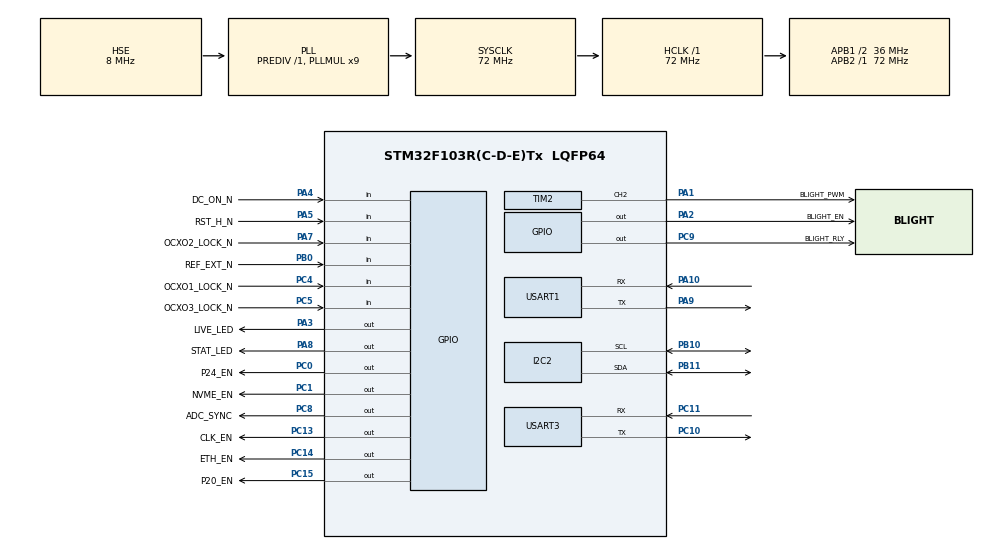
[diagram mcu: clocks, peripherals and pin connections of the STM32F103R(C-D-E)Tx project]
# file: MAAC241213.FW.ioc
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Dma.Request0=USART1_RX
Dma.USART1_RX.0.Direction=DMA_PERIPH_TO_MEMORY
Dma.USART1_RX.0.Instance=DMA1_Channel5
Dma.USART1_RX.0.MemDataAlignment=DMA_MDATAALIGN_BYTE
Dma.USART1_RX.0.MemInc=DMA_MINC_ENABLE
Dma.USART1_RX.0.Mode=DMA_NORMAL
Dma.USART1_RX.0.PeriphDataAlignment=DMA_PDATAALIGN_BYTE
Dma.USART1_RX.0.PeriphInc=DMA_PINC_DISABLE
Dma.USART1_RX.0.Priority=DMA_PRIORITY_LOW
Mcu.Family=STM32F1
Mcu.Name=STM32F103R(C-D-E)Tx
Mcu.Package=LQFP64
NVIC.DMA1_Channel5_IRQn=true\:0\:0\:false\:false\:true\:false\:true\:true
NVIC.PriorityGroup=NVIC_PRIORITYGROUP_4
NVIC.USART1_IRQn=true\:2\:0\:true\:false\:true\:true\:true\:true
PA1.GPIO_Label=BLIGHT_PWM
PA1.GPIO_ModeDefaultPP=GPIO_MODE_AF_PP
PA1.Signal=S_TIM2_CH2
PA10.Mode=Asynchronous
PA10.Signal=USART1_RX
PA13.Mode=Trace_Asynchronous_SW
PA13.Signal=SYS_JTMS-SWDIO
PA14.Mode=Trace_Asynchronous_SW
PA14.Signal=SYS_JTCK-SWCLK
PA2.GPIO_Label=BLIGHT_EN
PA2.Signal=GPIO_Output
PA3.GPIO_Label=LIVE_LED
PA3.Signal=GPIO_Output
PA4.GPIO_Label=DC_ON_N
PA4.Signal=GPIO_Input
PA5.GPIO_Label=RST_H_N
PA5.Signal=GPIO_Input
PA7.GPIO_Label=OCXO2_LOCK_N
PA7.Signal=GPIO_Input
PA8.GPIO_Label=STAT_LED
PA8.Signal=GPIO_Output
PA9.Mode=Asynchronous
PA9.Signal=USART1_TX
PB0.GPIO_Label=REF_EXT_N
PB0.Signal=GPIO_Input
PB10.Mode=I2C
PB10.Signal=I2C2_SCL
PB11.Mode=I2C
PB11.Signal=I2C2_SDA
PB3.Mode=Trace_Asynchronous_SW
PB3.Signal=SYS_JTDO-TRACESWO
PC0.GPIO_Label=P24_EN
PC0.Signal=GPIO_Output
PC1.GPIO_Label=NVME_EN
PC1.Signal=GPIO_Output
PC10.Mode=Asynchronous
PC10.Signal=USART3_TX
PC11.Mode=Asynchronous
PC11.Signal=USART3_RX
PC13-TAMPER-RTC.GPIO_Label=CLK_EN
PC13-TAMPER-RTC.Signal=GPIO_Output
PC14-OSC32_IN.GPIO_Label=ETH_EN
PC14-OSC32_IN.Signal=GPIO_Output
PC15-OSC32_OUT.GPIO_Label=P20_EN
PC15-OSC32_OUT.Signal=GPIO_Output
PC4.GPIO_Label=OCXO1_LOCK_N
PC4.Signal=GPIO_Input
PC5.GPIO_Label=OCXO3_LOCK_N
PC5.Signal=GPIO_Input
PC8.GPIO_Label=ADC_SYNC
PC8.Signal=GPIO_Output
PC9.GPIO_Label=BLIGHT_RLY
PC9.Signal=GPIO_Output
PD0-OSC_IN.Mode=HSE-External-Oscillator
PD0-OSC_IN.Signal=RCC_OSC_IN
PD1-OSC_OUT.Mode=HSE-External-Oscillator
PD1-OSC_OUT.Signal=RCC_OSC_OUT
ProjectManager.HeapSize=0x200
ProjectManager.StackSize=0x400
ProjectManager.TargetToolchain=STM32CubeIDE
RCC.AHBFreq_Value=72000000
RCC.APB1CLKDivider=RCC_HCLK_DIV2
RCC.APB1Freq_Value=36000000
RCC.APB1TimFreq_Value=72000000
RCC.APB2Freq_Value=72000000
RCC.APB2TimFreq_Value=72000000
RCC.HCLKFreq_Value=72000000
RCC.PLLMUL=RCC_PLL_MUL9
RCC.PLLSourceVirtual=RCC_PLLSOURCE_HSE
RCC.SYSCLKFreq_VALUE=72000000
RCC.SYSCLKSource=RCC_SYSCLKSOURCE_PLLCLK
RCC.USBFreq_Value=72000000
SH.S_TIM2_CH2.0=TIM2_CH2,PWM Generation2 CH2
TIM2.Channel-PWM\ Generation2\ CH2=TIM_CHANNEL_2
TIM2.OCPolarity_2=TIM_OCPOLARITY_LOW
TIM2.Period=480
TIM2.Prescaler=59
USART1.VirtualMode=VM_ASYNC
USART3.VirtualMode=VM_ASYNC
board=custom

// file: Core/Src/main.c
/* USER CODE BEGIN Header */
/**
  ******************************************************************************
  * @file           : main.c
  * @brief          : Main program body
  ******************************************************************************
  * @attention
  *
  * Copyright (c) 2022 STMicroelectronics.
  * All rights reserved.
  *
  * This software is licensed under terms that can be found in the LICENSE file
  * in the root directory of this software component.
  * If no LICENSE file comes with this software, it is provided AS-IS.
  *
  ******************************************************************************
  *
  *- Az orak tapjai az eszkoz aram ala helyezese utan fixen allandoan mennek.
  *- A PC be kikapcsolast a PCPSU vezerli atx szabvany szerint. Ezzel a FW-nek nem kell foglalkoznia.
  *
  * OCXO3 -> 25MHz
  * OCXO2 -> 20MHz
  * OCXO1 -> 24MHz
  *
  *                 |  Legacy Triclock   |          I2C Triclock          |
  * REFOCXO Temp    |nincs(152.918C ±1%) |van (MAAC kártya méri)          |
  * REFOCXO ExtRef  |van                 |van                             |
  * REFOCXO Current |nincs (0A)          |van (0..1A)                     |
  * REFOCXO Voltage |nincs (0V)          |van (0..12V)                    |
  *
  * OCXO1 Temp      |nincs (0C)          |van (0..70)                     |
  * OCXO1 Voltage   |nincs (0V)          |van (0..1A)                     |
  * OCXO1 Current   |nincs (0A)          |van (0..12V)                    |
  * OCXO1 IsLocked  |van (Legacy Locks)  |van                             |
  *
  *
  *
  *- Bekapcsoáls után a Baklight relé nincs meghzuva
  *- Bekpcsolás után a PWM vonalon 3.3V DC kell hogy legyen (ez a legsötétebb háttér világitas)
  *
  *- Elsődleges cél: A felhasználó ne lássa a boot képernyőt, viszont ha probléma van, legyen lehetőség debuggolásra.
  *- Bekapcsolási folyamat:
  *   - Ha a felhasználó megnyomja a POWER BUTTON-t, a PC tápja (PC PSU) a DC_ON vonalon jelez magas szinttel a kontrollernek.
  *   - A kontroller ekkor egy időzítést indít.
  *   - Ha egy meghatározott időn belül a PC a soros porton nem jelzi, hogy minden rendben, a kontroller bekapcsolja a kijelzőt a debughoz.
  *-
  */
/* USER CODE END Header */
#include "main.h"

/* USER CODE BEGIN Includes */
#include <string.h>
#include <stdio.h>
#include <stdlib.h>
#include "LiveLed.h"
#include "vt100.h"
#include "ssd1306.h"
#include "mcp3421.h"
/* USER CODE END Includes */

I2C_HandleTypeDef hi2c2;

TIM_HandleTypeDef htim2;

UART_HandleTypeDef huart1;
UART_HandleTypeDef huart3;
DMA_HandleTypeDef hdma_usart1_rx;

/* USER CODE BEGIN PV */
LiveLED_HandleTypeDef hLiveLed;
Device_t Device;

/* USER CODE END PV */

void SystemClock_Config(void);
static void MX_GPIO_Init(void);
static void MX_DMA_Init(void);
static void MX_I2C2_Init(void);
static void MX_USART1_UART_Init(void);
static void MX_USART3_UART_Init(void);
static void MX_TIM2_Init(void);
/* USER CODE BEGIN PFP */

//--- Live LED ---
void LiveLedOn(void);
void LiveLedOff(void);

//--- Tools ---
void UpTimeTask(void);

void DrawDisplay(void);

/* USER CODE END PFP */

int main(void)
{

  /* MCU Configuration--------------------------------------------------------*/

  /* Reset of all peripherals, Initializes the Flash interface and the Systick. */
  HAL_Init();

  /* Configure the system clock */
  SystemClock_Config();

  /* Initialize all configured peripherals */
  MX_GPIO_Init();
  MX_DMA_Init();
  MX_I2C2_Init();
  MX_USART1_UART_Init();
  MX_USART3_UART_Init();
  MX_TIM2_Init();
  /* USER CODE BEGIN 2 */
  printf(VT100_CLEARSCREEN);
  printf(VT100_CURSORHOME);
  printf(VT100_ATTR_RESET);

  //--- Backlight Init ---
  Backlight_Init(&htim2, 0);
  HAL_Delay(1500);

  //--- Display ---
  SSD1306_Init(&hi2c2, SSD1306_I2C_DEV_ADDRESS);
  DisplayClear();
  DisplayUpdate();
/*
  DisplayDrawString("   CORE AUDIO   ", &GfxFont7x8, SSD1306_WHITE );
  DisplayUpdate();

  HAL_Delay(5000);
*/
  //--- LiveLed ---
  hLiveLed.LedOffFnPtr = &LiveLedOff;
  hLiveLed.LedOnFnPtr = &LiveLedOn;
  hLiveLed.HalfPeriodTimeMs = 500;
  LiveLedInit(&hLiveLed);

  //--- EEPROM ---
  Eeprom_Init(&hi2c2, EEPROM_DEVICE_ADDRESS);

  uint32_t startSign;
  Eeprom_ReadU32(EEPROM_ADDR_FIRST_START, &startSign);
  if(startSign != 0x55AA)
  {
    //--- FIRST START ---
    Eeprom_WriteU32(EEPROM_ADDR_FIRST_START, 0x55AA);
    Eeprom_WriteU32(EEPROM_ADDR_BOOTUP_CNT, 0);
    Eeprom_WriteU32(EEPROM_ADDR_BKLIGHT_TIMEOUT_SEC, 60);
  }

  //--- Backlight Timeout ---
  Eeprom_ReadU32(EEPROM_ADDR_BKLIGHT_TIMEOUT_SEC, &Device.PC.BacklightTimeoutSec);

  //--- BOOTUP COUNTER ---
  Eeprom_ReadU32(EEPROM_ADDR_BOOTUP_CNT, &Device.Diag.BootupCnt);
  Device.Diag.BootupCnt++;
  Eeprom_WriteU32(EEPROM_ADDR_BOOTUP_CNT, Device.Diag.BootupCnt);

  //--- Communication ---
  UartCom_Init(&huart1, &hdma_usart1_rx);

  //-- Power Sequence ---
  PwrSeq_Init();

  //--- TriClock ---
  TriClock_Init(&hi2c2);

  /* USER CODE END 2 */

  /* Infinite loop */
  /* USER CODE BEGIN WHILE */
  while (1)
  {
    static int32_t timestamp;
    if(HAL_GetTick() - timestamp > 100)
    {
      timestamp = HAL_GetTick();
      DrawDisplay();
    }

    LiveLedTask(&hLiveLed);
    UpTimeTask();
    UartCom_Task();
    TriClock_Task();
    PwrSeq_Task();

    /* USER CODE END WHILE */

  }
}

void SystemClock_Config(void)
{
  RCC_OscInitTypeDef RCC_OscInitStruct = {0};
  RCC_ClkInitTypeDef RCC_ClkInitStruct = {0};

  /** Initializes the RCC Oscillators according to the specified parameters
  * in the RCC_OscInitTypeDef structure.
  */
  RCC_OscInitStruct.OscillatorType = RCC_OSCILLATORTYPE_HSE;
  RCC_OscInitStruct.HSEState = RCC_HSE_ON;
  RCC_OscInitStruct.HSEPredivValue = RCC_HSE_PREDIV_DIV1;
  RCC_OscInitStruct.HSIState = RCC_HSI_ON;
  RCC_OscInitStruct.PLL.PLLState = RCC_PLL_ON;
  RCC_OscInitStruct.PLL.PLLSource = RCC_PLLSOURCE_HSE;
  RCC_OscInitStruct.PLL.PLLMUL = RCC_PLL_MUL9;
  if (HAL_RCC_OscConfig(&RCC_OscInitStruct) != HAL_OK)
  {
    Error_Handler();
  }

  /** Initializes the CPU, AHB and APB buses clocks
  */
  RCC_ClkInitStruct.ClockType = RCC_CLOCKTYPE_HCLK|RCC_CLOCKTYPE_SYSCLK
                              |RCC_CLOCKTYPE_PCLK1|RCC_CLOCKTYPE_PCLK2;
  RCC_ClkInitStruct.SYSCLKSource = RCC_SYSCLKSOURCE_PLLCLK;
  RCC_ClkInitStruct.AHBCLKDivider = RCC_SYSCLK_DIV1;
  RCC_ClkInitStruct.APB1CLKDivider = RCC_HCLK_DIV2;
  RCC_ClkInitStruct.APB2CLKDivider = RCC_HCLK_DIV1;

  if (HAL_RCC_ClockConfig(&RCC_ClkInitStruct, FLASH_LATENCY_2) != HAL_OK)
  {
    Error_Handler();
  }
}

static void MX_I2C2_Init(void)
{

  hi2c2.Instance = I2C2;
  hi2c2.Init.ClockSpeed = 100000;
  hi2c2.Init.DutyCycle = I2C_DUTYCYCLE_2;
  hi2c2.Init.OwnAddress1 = 0;
  hi2c2.Init.AddressingMode = I2C_ADDRESSINGMODE_7BIT;
  hi2c2.Init.DualAddressMode = I2C_DUALADDRESS_DISABLE;
  hi2c2.Init.OwnAddress2 = 0;
  hi2c2.Init.GeneralCallMode = I2C_GENERALCALL_DISABLE;
  hi2c2.Init.NoStretchMode = I2C_NOSTRETCH_DISABLE;
  if (HAL_I2C_Init(&hi2c2) != HAL_OK)
  {
    Error_Handler();
  }

}

static void MX_TIM2_Init(void)
{

  TIM_MasterConfigTypeDef sMasterConfig = {0};
  TIM_OC_InitTypeDef sConfigOC = {0};

  htim2.Instance = TIM2;
  htim2.Init.Prescaler = 59;
  htim2.Init.CounterMode = TIM_COUNTERMODE_UP;
  htim2.Init.Period = 480;
  htim2.Init.ClockDivision = TIM_CLOCKDIVISION_DIV1;
  htim2.Init.AutoReloadPreload = TIM_AUTORELOAD_PRELOAD_DISABLE;
  if (HAL_TIM_PWM_Init(&htim2) != HAL_OK)
  {
    Error_Handler();
  }
  sMasterConfig.MasterOutputTrigger = TIM_TRGO_RESET;
  sMasterConfig.MasterSlaveMode = TIM_MASTERSLAVEMODE_DISABLE;
  if (HAL_TIMEx_MasterConfigSynchronization(&htim2, &sMasterConfig) != HAL_OK)
  {
    Error_Handler();
  }
  sConfigOC.OCMode = TIM_OCMODE_PWM1;
  sConfigOC.Pulse = 0;
  sConfigOC.OCPolarity = TIM_OCPOLARITY_LOW;
  sConfigOC.OCFastMode = TIM_OCFAST_DISABLE;
  if (HAL_TIM_PWM_ConfigChannel(&htim2, &sConfigOC, TIM_CHANNEL_2) != HAL_OK)
  {
    Error_Handler();
  }
  HAL_TIM_MspPostInit(&htim2);

}

static void MX_USART1_UART_Init(void)
{

  huart1.Instance = USART1;
  huart1.Init.BaudRate = 115200;
  huart1.Init.WordLength = UART_WORDLENGTH_8B;
  huart1.Init.StopBits = UART_STOPBITS_1;
  huart1.Init.Parity = UART_PARITY_NONE;
  huart1.Init.Mode = UART_MODE_TX_RX;
  huart1.Init.HwFlowCtl = UART_HWCONTROL_NONE;
  huart1.Init.OverSampling = UART_OVERSAMPLING_16;
  if (HAL_UART_Init(&huart1) != HAL_OK)
  {
    Error_Handler();
  }

}

static void MX_USART3_UART_Init(void)
{

  huart3.Instance = USART3;
  huart3.Init.BaudRate = 115200;
  huart3.Init.WordLength = UART_WORDLENGTH_8B;
  huart3.Init.StopBits = UART_STOPBITS_1;
  huart3.Init.Parity = UART_PARITY_NONE;
  huart3.Init.Mode = UART_MODE_TX_RX;
  huart3.Init.HwFlowCtl = UART_HWCONTROL_NONE;
  huart3.Init.OverSampling = UART_OVERSAMPLING_16;
  if (HAL_UART_Init(&huart3) != HAL_OK)
  {
    Error_Handler();
  }

}

static void MX_DMA_Init(void)
{

  /* DMA controller clock enable */
  __HAL_RCC_DMA1_CLK_ENABLE();

  /* DMA interrupt init */
  /* DMA1_Channel5_IRQn interrupt configuration */
  HAL_NVIC_SetPriority(DMA1_Channel5_IRQn, 0, 0);
  HAL_NVIC_EnableIRQ(DMA1_Channel5_IRQn);

}

static void MX_GPIO_Init(void)
{
  GPIO_InitTypeDef GPIO_InitStruct = {0};

  /* GPIO Ports Clock Enable */
  __HAL_RCC_GPIOC_CLK_ENABLE();
  __HAL_RCC_GPIOD_CLK_ENABLE();
  __HAL_RCC_GPIOA_CLK_ENABLE();
  __HAL_RCC_GPIOB_CLK_ENABLE();

  /*Configure GPIO pin Output Level */
  HAL_GPIO_WritePin(GPIOC, CLK_EN_Pin|ETH_EN_Pin|P20_EN_Pin|P24_EN_Pin
                          |NVME_EN_Pin|ADC_SYNC_Pin|BLIGHT_RLY_Pin, GPIO_PIN_RESET);

  /*Configure GPIO pin Output Level */
  HAL_GPIO_WritePin(GPIOA, BLIGHT_EN_Pin|LIVE_LED_Pin|STAT_LED_Pin, GPIO_PIN_RESET);

  /*Configure GPIO pins : CLK_EN_Pin ETH_EN_Pin P20_EN_Pin P24_EN_Pin
                           NVME_EN_Pin ADC_SYNC_Pin BLIGHT_RLY_Pin */
  GPIO_InitStruct.Pin = CLK_EN_Pin|ETH_EN_Pin|P20_EN_Pin|P24_EN_Pin
                          |NVME_EN_Pin|ADC_SYNC_Pin|BLIGHT_RLY_Pin;
  GPIO_InitStruct.Mode = GPIO_MODE_OUTPUT_PP;
  GPIO_InitStruct.Pull = GPIO_NOPULL;
  GPIO_InitStruct.Speed = GPIO_SPEED_FREQ_LOW;
  HAL_GPIO_Init(GPIOC, &GPIO_InitStruct);

  /*Configure GPIO pins : BLIGHT_EN_Pin LIVE_LED_Pin STAT_LED_Pin */
  GPIO_InitStruct.Pin = BLIGHT_EN_Pin|LIVE_LED_Pin|STAT_LED_Pin;
  GPIO_InitStruct.Mode = GPIO_MODE_OUTPUT_PP;
  GPIO_InitStruct.Pull = GPIO_NOPULL;
  GPIO_InitStruct.Speed = GPIO_SPEED_FREQ_LOW;
  HAL_GPIO_Init(GPIOA, &GPIO_InitStruct);

  /*Configure GPIO pins : DC_ON_N_Pin RST_H_N_Pin OCXO2_LOCK_N_Pin */
  GPIO_InitStruct.Pin = DC_ON_N_Pin|RST_H_N_Pin|OCXO2_LOCK_N_Pin;
  GPIO_InitStruct.Mode = GPIO_MODE_INPUT;
  GPIO_InitStruct.Pull = GPIO_NOPULL;
  HAL_GPIO_Init(GPIOA, &GPIO_InitStruct);

  /*Configure GPIO pins : OCXO1_LOCK_N_Pin OCXO3_LOCK_N_Pin */
  GPIO_InitStruct.Pin = OCXO1_LOCK_N_Pin|OCXO3_LOCK_N_Pin;
  GPIO_InitStruct.Mode = GPIO_MODE_INPUT;
  GPIO_InitStruct.Pull = GPIO_NOPULL;
  HAL_GPIO_Init(GPIOC, &GPIO_InitStruct);

  /*Configure GPIO pin : REF_EXT_N_Pin */
  GPIO_InitStruct.Pin = REF_EXT_N_Pin;
  GPIO_InitStruct.Mode = GPIO_MODE_INPUT;
  GPIO_InitStruct.Pull = GPIO_NOPULL;
  HAL_GPIO_Init(REF_EXT_N_GPIO_Port, &GPIO_InitStruct);

}

/* USER CODE BEGIN 4 */
/* Tools----------------------------------------------------------------------*/
void UpTimeTask(void)
{
  static uint32_t timestamp;
  if(HAL_GetTick() - timestamp > 1000)
  {
    timestamp = HAL_GetTick();
    Device.Diag.UpTimeSec++;
  }
}
/* LEDs ----------------------------------------------------------------------*/
void LiveLedOn(void)
{
  HAL_GPIO_WritePin(LIVE_LED_GPIO_Port, LIVE_LED_Pin, GPIO_PIN_SET);
}

void LiveLedOff(void)
{
  HAL_GPIO_WritePin(LIVE_LED_GPIO_Port, LIVE_LED_Pin, GPIO_PIN_RESET);
}
/* printf --------------------------------------------------------------------*/
int _write(int file, char *ptr, int len)
{
  //HAL_UART_Transmit(&huart1, (uint8_t*)ptr, len, 100);
  int i=0;
  for(i=0 ; i<len ; i++)
    ITM_SendChar((*ptr++));
  return len;
}

enum Disp_e
{
  DISP_NONE,
  DISP_VERSION,
  DISP_OCXO1,
  DISP_OCXO2,
  DISP_OCXO3,
  DISP_REF,
  DISP_PC,
  DISP_LIVE,
};

#define DISP_INTER_DELAY_MS 4000

void DrawDisplay(void)
{
  static int32_t timestamp;
  static enum Disp_e dispPre, dispCurr, dispNext;
  static char string[120];
  DisplayClear();
  switch(dispCurr)
  {
    case DISP_NONE:{
      dispNext = DISP_VERSION;
      break;
    }
    case DISP_VERSION:{
      if(dispPre != dispCurr)
        timestamp = HAL_GetTick();
      /*0123456789012345*/
      DisplaySetCursor(0, 0);
      DisplayDrawString("   CORE AUDIO   ", &FontType5x7, SSD1306_WHITE );
      DisplaySetCursor(0, 8);
      DisplayDrawString("      AAC       ", &FontType5x7, SSD1306_WHITE );
      DisplaySetCursor(0, 16);
      DisplayDrawString(DEVICE_FW, &FontType5x7, SSD1306_WHITE );
      if(HAL_GetTick() - timestamp > DISP_INTER_DELAY_MS)
        dispNext = DISP_OCXO1;
      break;
    }
    case DISP_OCXO1:{

      if(dispPre != dispCurr)
        timestamp = HAL_GetTick();
      DisplaySetCursor(0, 0);
      sprintf(string,"OCXO1\nU:%05.2fV\nI:%.3fmA\nt:%05.02fC-%s",
          Device.TriClock.OCXO1.Voltage,
          Device.TriClock.OCXO1.Current,
          Device.TriClock.OCXO1.Temperature,
          Device.TriClock.OCXO1.IsLocked?"LOCK":"UNLOCK");
      DisplayDrawString(string, &FontType5x7, SSD1306_WHITE );
      if(HAL_GetTick() - timestamp > DISP_INTER_DELAY_MS)
        dispNext = DISP_OCXO2;
      break;
    }

    case DISP_OCXO2:{
      if(dispPre != dispCurr)
        timestamp = HAL_GetTick();
      DisplaySetCursor(0, 0);
      sprintf(string,"OCXO2\nU:%05.2fV\nI:%.3fmA\nt:%05.02fC-%s",
          Device.TriClock.OCXO2.Voltage,
          Device.TriClock.OCXO2.Current,
          Device.TriClock.OCXO2.Temperature,
          Device.TriClock.OCXO2.IsLocked?"LOCK":"UNLOCK");
      DisplayDrawString(string, &FontType5x7, SSD1306_WHITE );
      if(HAL_GetTick() - timestamp > DISP_INTER_DELAY_MS)
        dispNext = DISP_OCXO3;
      break;
    }

    case DISP_OCXO3:
    {
      if(dispPre != dispCurr)
        timestamp = HAL_GetTick();
      DisplaySetCursor(0, 0);
      sprintf(string,"OCXO3\nU:%05.2fV\nI:%.3fmA\nt:%05.02fC-%s",
          Device.TriClock.OCXO3.Voltage,
          Device.TriClock.OCXO3.Current,
          Device.TriClock.OCXO3.Temperature,
          Device.TriClock.OCXO3.IsLocked?"LOCK":"UNLOCK");
      DisplayDrawString(string, &FontType5x7, SSD1306_WHITE);
      if(HAL_GetTick() - timestamp > DISP_INTER_DELAY_MS)
        dispNext = DISP_REF;
      break;
    }

    case DISP_REF:
    {
      if(dispPre != dispCurr)
        timestamp = HAL_GetTick();
      DisplaySetCursor(0, 0);
      sprintf(string,"REF\nU:%05.2fV\nI:%.3fmA\nt:%05.02fC-%s",
          Device.TriClock.REFOCXO.Voltage,
          Device.TriClock.REFOCXO.Current,
          Device.TriClock.REFOCXO.Temperature,
          Device.TriClock.REFOCXO.ExtRef?"EXT":"INT");
      DisplayDrawString(string, &FontType5x7, SSD1306_WHITE);
      if(HAL_GetTick() - timestamp > DISP_INTER_DELAY_MS)
        dispNext = DISP_PC;
      break;
    }

    case DISP_PC:
    {
      if(dispPre != dispCurr)
        timestamp = HAL_GetTick();
      DisplaySetCursor(0, 0);
      sprintf(string,"PC PSU:%s\nBK:%s INTE:%02d\nON CNT:%ld",
          Device.PC.PsuState?"ON":"OFF",
          Device.PC.BacklightIsOn?"ON":"OFF",
          Device.PC.BacklightIntensity,
          Device.Diag.PcPsuOnCnt);
      DisplayDrawString(string, &FontType5x7, SSD1306_WHITE);
      if(HAL_GetTick() - timestamp > DISP_INTER_DELAY_MS)
        dispNext = DISP_LIVE;
      break;
    }

    case DISP_LIVE:{
      if(dispPre != dispCurr)
        timestamp = HAL_GetTick();
      DisplaySetCursor(0, 0);
                       /*0123456789012345*/
      sprintf(string,"BootCnt:%ld\nUpTime:%ld", Device.Diag.BootupCnt, Device.Diag.UpTimeSec);
      DisplayDrawString(string, &FontType5x7, SSD1306_WHITE);
      if(HAL_GetTick() - timestamp > DISP_INTER_DELAY_MS)
        dispNext = DISP_VERSION;
      break;
    }
  }

  dispPre = dispCurr;
  dispCurr = dispNext;
  DisplayUpdate();
}

/* USER CODE END 4 */

void Error_Handler(void)
{
  __disable_irq();
  while (1)
  {
  }
}
